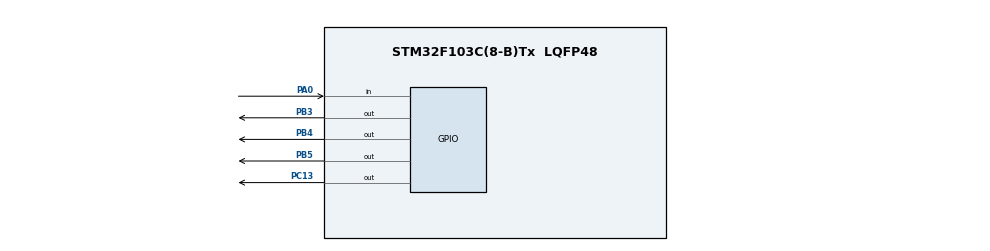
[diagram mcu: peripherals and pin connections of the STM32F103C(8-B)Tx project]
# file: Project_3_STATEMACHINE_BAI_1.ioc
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Mcu.Family=STM32F1
Mcu.Name=STM32F103C(8-B)Tx
Mcu.Package=LQFP48
NVIC.PriorityGroup=NVIC_PRIORITYGROUP_4
PA0-WKUP.GPIO_PuPd=GPIO_PULLUP
PA0-WKUP.Signal=GPIO_Input
PA13.Mode=Serial_Wire
PA13.Signal=SYS_JTMS-SWDIO
PA14.Mode=Serial_Wire
PA14.Signal=SYS_JTCK-SWCLK
PB3.Signal=GPIO_Output
PB4.Signal=GPIO_Output
PB5.Signal=GPIO_Output
PC13-TAMPER-RTC.Signal=GPIO_Output
ProjectManager.HeapSize=0x200
ProjectManager.StackSize=0x400
ProjectManager.TargetToolchain=STM32CubeIDE
RCC.APB1Freq_Value=8000000
RCC.APB2Freq_Value=8000000
board=custom

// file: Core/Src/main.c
/* USER CODE BEGIN Header */
/**
  ******************************************************************************
  * @file           : main.c
  * @brief          : Main program body
  ******************************************************************************
  * @attention
  *
  * Copyright (c) 2022 STMicroelectronics.
  * All rights reserved.
  *
  * This software is licensed under terms that can be found in the LICENSE file
  * in the root directory of this software component.
  * If no LICENSE file comes with this software, it is provided AS-IS.
  *
  ******************************************************************************
  */
/* USER CODE END Header */
#include "main.h"

/* USER CODE BEGIN PV */
uint8_t current_state = 1;
uint8_t last_state = 1;
uint8_t deboucing_state = 1;
uint8_t is_deboucing = 0;
uint32_t deboucing_timer = 0;
uint32_t pressing_timer = 0;
uint8_t is_pressing = 0;
/* USER CODE END PV */

void SystemClock_Config(void);
static void MX_GPIO_Init(void);

/* USER CODE BEGIN 0 */
void BUTTON_Handel(uint16_t gpio_pin)
{
	// detecting
	uint8_t temp_state = HAL_GPIO_ReadPin(GPIOA , gpio_pin);
	if(temp_state != deboucing_state)
	{
		deboucing_state = temp_state;
		deboucing_timer = HAL_GetTick();
		is_deboucing = 1;
	}

	//deboucing
	if(is_deboucing==1 && (HAL_GetTick() - deboucing_timer > 15))
	{
		current_state = deboucing_state;
		is_deboucing = 0;
	}
	if(current_state != last_state)
	{
		if(current_state==0)
		{
			HAL_GPIO_WritePin(GPIOB, GPIO_PIN_3, 1);
			is_pressing = 1;
			pressing_timer = HAL_GetTick();
		}
		else
		{
			HAL_GPIO_WritePin(GPIOB, GPIO_PIN_3, 0);
			is_pressing = 0;
			if(HAL_GetTick() - pressing_timer < 2000)
			{
				HAL_GPIO_TogglePin(GPIOB, GPIO_PIN_4);
			}
		}
		last_state = current_state;
	}
	if(is_pressing == 1 && (HAL_GetTick() - pressing_timer > 2000))
	{
		HAL_GPIO_TogglePin(GPIOB, GPIO_PIN_5);
		is_pressing = 0;
	}
}
/* USER CODE END 0 */

int main(void)
{

  /* MCU Configuration--------------------------------------------------------*/

  /* Reset of all peripherals, Initializes the Flash interface and the Systick. */
  HAL_Init();

  /* Configure the system clock */
  SystemClock_Config();

  /* Initialize all configured peripherals */
  MX_GPIO_Init();

  /* Infinite loop */
  while (1)
  {

    /* USER CODE BEGIN 3 */
//	  BUTTON_Handel(GPIO_PIN_0);
	  HAL_GPIO_TogglePin(GPIOC, GPIO_PIN_13);
	  HAL_Delay(500);
  }
  /* USER CODE END 3 */
}

void SystemClock_Config(void)
{
  RCC_OscInitTypeDef RCC_OscInitStruct = {0};
  RCC_ClkInitTypeDef RCC_ClkInitStruct = {0};

  /** Initializes the RCC Oscillators according to the specified parameters
  * in the RCC_OscInitTypeDef structure.
  */
  RCC_OscInitStruct.OscillatorType = RCC_OSCILLATORTYPE_HSI;
  RCC_OscInitStruct.HSIState = RCC_HSI_ON;
  RCC_OscInitStruct.HSICalibrationValue = RCC_HSICALIBRATION_DEFAULT;
  RCC_OscInitStruct.PLL.PLLState = RCC_PLL_NONE;
  if (HAL_RCC_OscConfig(&RCC_OscInitStruct) != HAL_OK)
  {
    Error_Handler();
  }

  /** Initializes the CPU, AHB and APB buses clocks
  */
  RCC_ClkInitStruct.ClockType = RCC_CLOCKTYPE_HCLK|RCC_CLOCKTYPE_SYSCLK
                              |RCC_CLOCKTYPE_PCLK1|RCC_CLOCKTYPE_PCLK2;
  RCC_ClkInitStruct.SYSCLKSource = RCC_SYSCLKSOURCE_HSI;
  RCC_ClkInitStruct.AHBCLKDivider = RCC_SYSCLK_DIV1;
  RCC_ClkInitStruct.APB1CLKDivider = RCC_HCLK_DIV1;
  RCC_ClkInitStruct.APB2CLKDivider = RCC_HCLK_DIV1;

  if (HAL_RCC_ClockConfig(&RCC_ClkInitStruct, FLASH_LATENCY_0) != HAL_OK)
  {
    Error_Handler();
  }
}

static void MX_GPIO_Init(void)
{
  GPIO_InitTypeDef GPIO_InitStruct = {0};

  /* GPIO Ports Clock Enable */
  __HAL_RCC_GPIOC_CLK_ENABLE();
  __HAL_RCC_GPIOA_CLK_ENABLE();
  __HAL_RCC_GPIOB_CLK_ENABLE();

  /*Configure GPIO pin Output Level */
  HAL_GPIO_WritePin(GPIOC, GPIO_PIN_13, GPIO_PIN_RESET);

  /*Configure GPIO pin Output Level */
  HAL_GPIO_WritePin(GPIOB, GPIO_PIN_3|GPIO_PIN_4|GPIO_PIN_5, GPIO_PIN_RESET);

  /*Configure GPIO pin : PC13 */
  GPIO_InitStruct.Pin = GPIO_PIN_13;
  GPIO_InitStruct.Mode = GPIO_MODE_OUTPUT_PP;
  GPIO_InitStruct.Pull = GPIO_NOPULL;
  GPIO_InitStruct.Speed = GPIO_SPEED_FREQ_LOW;
  HAL_GPIO_Init(GPIOC, &GPIO_InitStruct);

  /*Configure GPIO pin : PA0 */
  GPIO_InitStruct.Pin = GPIO_PIN_0;
  GPIO_InitStruct.Mode = GPIO_MODE_INPUT;
  GPIO_InitStruct.Pull = GPIO_PULLUP;
  HAL_GPIO_Init(GPIOA, &GPIO_InitStruct);

  /*Configure GPIO pins : PB3 PB4 PB5 */
  GPIO_InitStruct.Pin = GPIO_PIN_3|GPIO_PIN_4|GPIO_PIN_5;
  GPIO_InitStruct.Mode = GPIO_MODE_OUTPUT_PP;
  GPIO_InitStruct.Pull = GPIO_NOPULL;
  GPIO_InitStruct.Speed = GPIO_SPEED_FREQ_LOW;
  HAL_GPIO_Init(GPIOB, &GPIO_InitStruct);

}

void Error_Handler(void)
{
  __disable_irq();
  while (1)
  {
  }
}
